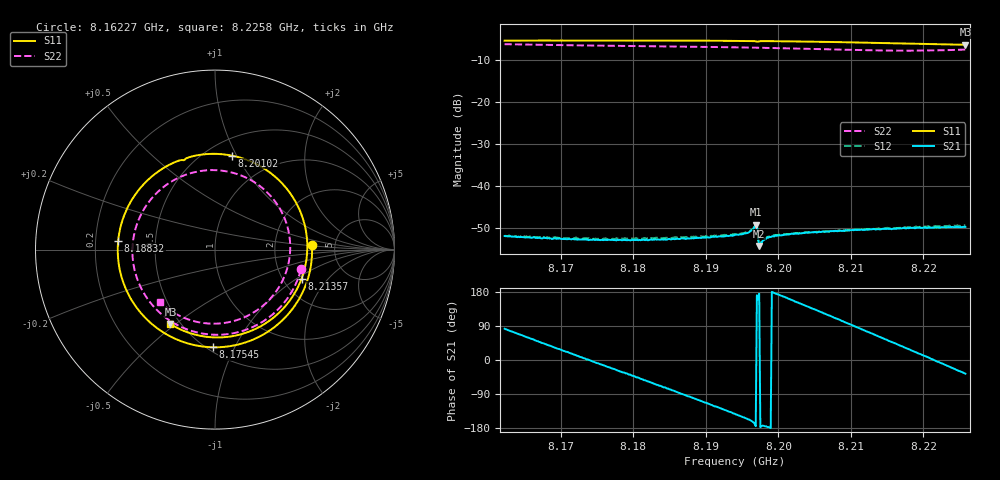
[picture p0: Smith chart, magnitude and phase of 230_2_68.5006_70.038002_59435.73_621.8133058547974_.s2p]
#  HZ  S  RI  R  50.00
! Rohde & Schwarz Vector Network Analyzer
! Rohde-Schwarz,ZNB20-2Port,1311601062101988,3.16
! Created: UTC 3/20/2024, 4:58:54 PM
! freq[Hz]  re:S11  im:S11  re:S21  im:S21  re:S12  im:S12  re:S22  im:S22
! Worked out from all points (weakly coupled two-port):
!   401 points, 8.16227 GHz to 8.2258 GHz, reference 50 ohm
!   highest |S21| = -49.34 dB at 8.19689 GHz (marker M1); lowest = -54.4 dB at 8.19737 GHz (marker M2)
!   lowest |S11| = -6.3 dB at 8.2258 GHz (marker M3), VSWR 2.87, Z = 22.1 - j23.9 ohm
!   |S11| at or under -10 dB: nowhere
!   |S22| runs from -7.7 to -6.2 dB; largest |S21 - S12| = 0.00021
!   S11 on the Smith chart (normalised r, x): 8.16227 GHz: 3.33, +0.26; 8.17545 GHz: 0.53, -0.82; 8.18832 GHz: 0.30, +0.04; 8.20102 GHz: 0.66, +0.96; 8.21357 GHz: 2.52, -1.10; 8.2258 GHz: 0.44, -0.48
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8.162268e9  0.54 0.0275  0.000326 0.00249  0.000331 0.0025  0.479 -0.1097
8.167192e9  0.4603 -0.289  0.00161 0.00174  0.00165 0.0018  0.3285 -0.3548
8.17291e9  0.1594 -0.5206  0.00227 0.000288  0.00232 0.000256  0.0262 -0.4745
8.175451e9  -0.0118 -0.5443  0.00219 -0.000439  0.00228 -0.000411  -0.1172 -0.457
8.179263e9  -0.2626 -0.4765  0.00179 -0.00135  0.00183 -0.00144  -0.3047 -0.3544
8.183552e9  -0.4713 -0.2702  0.000863 -0.0021  0.000906 -0.00216  -0.4358 -0.1567
8.188317e9  -0.5394 0.0497  -0.000427 -0.00231  -0.0005 -0.00242  -0.4461 0.1045
8.191017e9  -0.4886 0.231  -0.00125 -0.00213  -0.00131 -0.00213  -0.3858 0.2414
8.194034e9  -0.3615 0.3992  -0.00204 -0.00159  -0.00215 -0.00154  -0.2695 0.3618
8.196893e9  -0.1846 0.4991  -0.0034 -0.000318  -0.00345 -0.000195  -0.1247 0.4288
8.19737e9  -0.1623 0.507  -0.0019 0.000173  -0.00187 0.00029  -0.0987 0.4348
8.197688e9  -0.1398 0.5162  -0.00207 -0.000217  -0.00214 -0.000136  -0.0811 0.4379
8.198641e9  -0.0722 0.5297  -0.0024 -0.000131  -0.00247 7.92e-06  -0.0274 0.4428
8.201023e9  0.096 0.5231  -0.00252 0.000689  -0.00252 0.000794  0.1066 0.4261
8.204676e9  0.3268 0.413  -0.00201 0.00194  -0.00197 0.00198  0.2876 0.3219
8.209282e9  0.4989 0.1406  -0.000468 0.00292  -0.000397 0.00288  0.4132 0.0847
8.213571e9  0.4823 -0.1619  0.0013 0.00271  0.00138 0.00274  0.3769 -0.1716
8.215318e9  0.4244 -0.2733  0.00197 0.00234  0.00203 0.00233  0.317 -0.2635
8.218177e9  0.2755 -0.4147  0.00279 0.00144  0.00289 0.00139  0.1713 -0.3737
8.220718e9  0.1047 -0.481  0.00314 0.000359  0.00327 0.000228  0.00957 -0.4124
8.2231e9  -0.067 -0.4831  0.0031 -0.000741  0.00318 -0.000912  -0.1479 -0.3895
8.225801e9  -0.2486 -0.4146  0.0026 -0.00189  0.00264 -0.0021  -0.3049 -0.2947
